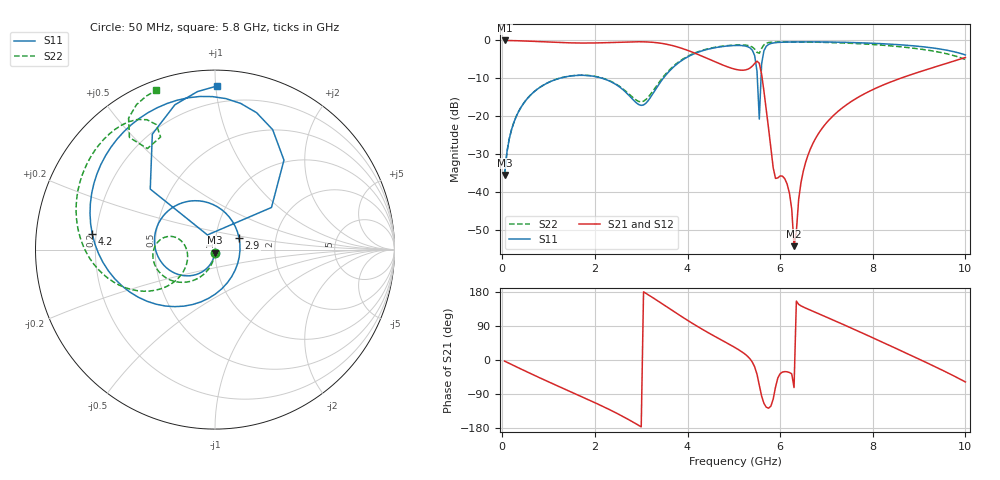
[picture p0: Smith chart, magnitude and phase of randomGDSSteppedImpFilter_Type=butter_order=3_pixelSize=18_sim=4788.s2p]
! freq	dB(S11)	phase(S11)	dB(S12)	phase(S12)
!  dB(S21)	phase(S21)	dB(S22)	phase(S22)
!S-par simulation data
#  GHz  S  DB  R 50
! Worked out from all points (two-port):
!   200 points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, 50 MHz to 10 GHz, reference 50 ohm
!   highest |S21| = 0.00 dB at 50 MHz (marker M1); lowest = -54.2 dB at 6.3 GHz (marker M2)
!   |S21| within 3 dB of the highest: start of sweep to 4.086 GHz
!   lowest |S11| = -35.5 dB at 50 MHz (marker M3), VSWR 1.03, Z = 49.9 - j1.68 ohm
!   |S11| at or under -10 dB: start of sweep to 1.232 GHz; 2.164 GHz to 3.475 GHz (1.312 GHz wide, 46.5 % of centre); 5.507 GHz to 5.587 GHz (79.31 MHz wide, 1.43 % of centre)
!   |S22| runs from -35.5 to -0.4 dB; largest |S21 - S12| = 0
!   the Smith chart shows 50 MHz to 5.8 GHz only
!   S11 on the Smith chart (normalised r, x): 50 MHz: 1.00, -0.03; 2.9 GHz: 1.30, +0.18; 4.2 GHz: 0.18, +0.06; 5.8 GHz: 0.09, +1.01
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0.05  -35.46 -93.2  -0.00 -3.0  -0.00 -3.0  -35.45 -92.5
0.2  -23.50 -103.6  -0.04 -11.9  -0.04 -11.9  -23.49 -100.6
0.5  -15.93 -123.7  -0.15 -29.4  -0.15 -29.4  -15.92 -116.0
1.75  -9.19 154.6  -0.68 -98.7  -0.68 -98.7  -9.16 -172.9
2.9  -16.51 26.4  -0.35 -169.2  -0.35 -169.2  -15.80 176.5
3.4  -11.25 -97.5  -0.70 152.6  -0.70 152.6  -10.79 -141.7
4.2  -3.23 172.7  -3.56 89.6  -3.56 89.6  -3.10 -176.1
5.05  -1.32 104.2  -7.65 31.1  -7.65 31.1  -1.20 138.0
5.45  -4.02 52.4  -6.07 -18.2  -6.07 -18.2  -2.28 115.1
5.5  -8.12 36.7  -5.47 -37.7  -5.47 -37.7  -3.14 115.8
5.55  -20.74 117.3  -6.03 -66.2  -6.03 -66.2  -3.39 123.8
5.6  -6.13 136.9  -8.95 -95.3  -8.95 -95.3  -2.09 127.3
5.8  -0.81 89.3  -28.50 -121.7  -28.50 -121.7  -0.48 110.4
5.9  -0.58 78.8  -36.38 -71.4  -36.38 -71.4  -0.42 103.9
6.2  -0.41 57.0  -40.24 -32.9  -40.24 -32.9  -0.39 86.9
6.3  -0.39 51.0  -54.25 -72.8  -54.25 -72.8  -0.39 81.5
6.45  -0.38 42.5  -37.47 142.8  -37.47 142.8  -0.40 73.3
6.7  -0.38 29.4  -27.35 129.0  -27.35 129.0  -0.44 59.6
7.55  -0.55 -10.0  -15.99 83.5  -15.99 83.5  -0.76 8.8
8.35  -0.96 -42.8  -11.12 39.0  -11.12 39.0  -1.39 -44.8
9.1  -1.69 -71.6  -7.93 -3.5  -7.93 -3.5  -2.40 -98.3
10  -3.82 -106.1  -4.50 -57.9  -4.50 -57.9  -5.03 -168.5
